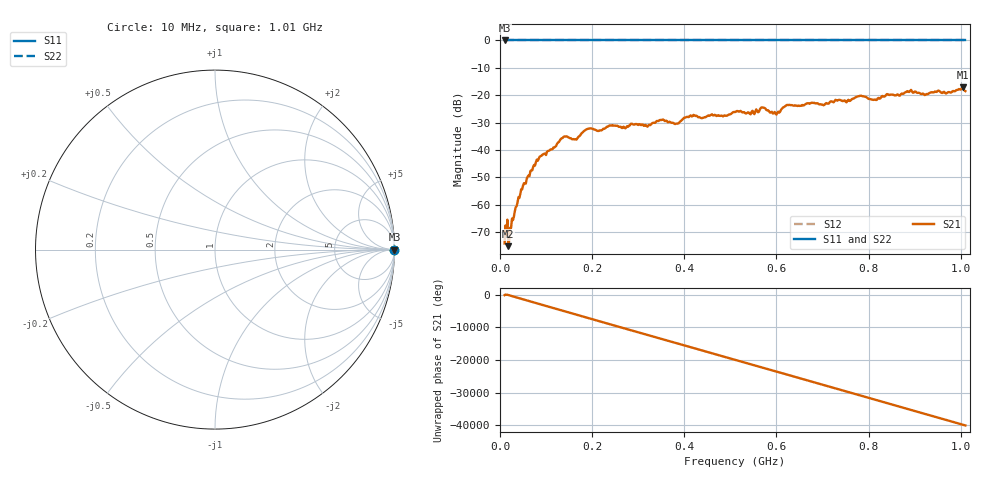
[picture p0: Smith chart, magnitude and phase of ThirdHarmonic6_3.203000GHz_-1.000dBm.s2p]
! 8/17/2025 9:43:59 AM
! C:\ANRITSUVNA\TEMP\TEMP.S2P
! CHANNEL.1
! TR.MEASUREMENT
! RAW.DATA
! RF.CORRECTION.OFF
! AVERAGING.OFF
! IF.BANDWIDTH: 5KHZ
! SWEEPTYPE:  FREQ.SWEEP(Linear)
! Reference Plane Port Info
! PORT:  PORT1  PORT2
! DISTANCE:  0  m  0  m
! TIME:  0  s  0  s
! PHASE.OFFSET:  0  deg.  0  deg.
! LOSS:  0  dB  0  dB
! REF.LOSS:  0  dB  0  dB
! REF.FREQ:  0  Hz  0  Hz
! Power Info
! POWER:  -20  dBm  -20  dBm
! EFF.POWER:  -20  dBm  -20  dBm
! SOURCE.ATTEN:  0  dB  0  dB
! TEST.ATTEN:  0  dB  0  dB
# GHZ S RI R 50.0
! FREQ.GHZ  S11RE  S11IM  S21RE  S21IM  S12RE  S12IM  S22RE  S22IM
!; PortSelection: Port_12
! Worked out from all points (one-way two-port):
!   501 points, 10 MHz to 1.01 GHz, reference 50 ohm
!   highest |S21| = -17.18 dB at 1.004 GHz (marker M1); lowest = -75.2 dB at 18 MHz (marker M2)
!   lowest |S11| = 0.0 dB at 10 MHz (marker M3)
!   |S11| at or under -10 dB: nowhere
!   |S22| runs from 0.0 to 0.0 dB; largest |S21 - S12| = 1.1
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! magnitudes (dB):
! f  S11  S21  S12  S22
! 10 MHz  0.0  -74.2  0.0  0.0
! 18 MHz  0.0  -75.2  0.0  0.0
! 22 MHz  0.0  -68.4  0.0  0.0
! 30 MHz  0.0  -64.5  0.0  0.0
! 48 MHz  0.0  -54.4  0.0  0.0
! 82 MHz  0.0  -44.0  0.0  0.0
! 136 MHz  0.0  -35.6  0.0  0.0
! 164 MHz  0.0  -36.1  0.0  0.0
! 178 MHz  0.0  -33.8  0.0  0.0
! 344 MHz  0.0  -29.4  0.0  0.0
! 384 MHz  0.0  -30.4  0.0  0.0
! 416 MHz  0.0  -27.8  0.0  0.0
! 510 MHz  0.0  -26.2  0.0  0.0
! 570 MHz  0.0  -24.5  0.0  0.0
! 596 MHz  0.0  -26.1  0.0  0.0
! 624 MHz  0.0  -23.6  0.0  0.0
! 678 MHz  0.0  -22.8  0.0  0.0
! 782 MHz  0.0  -20.2  0.0  0.0
! 814 MHz  0.0  -21.6  0.0  0.0
! 844 MHz  0.0  -19.9  0.0  0.0
! 1.004 GHz  0.0  -17.2  0.0  0.0
! 1.01 GHz  0.0  -18.5  0.0  0.0
